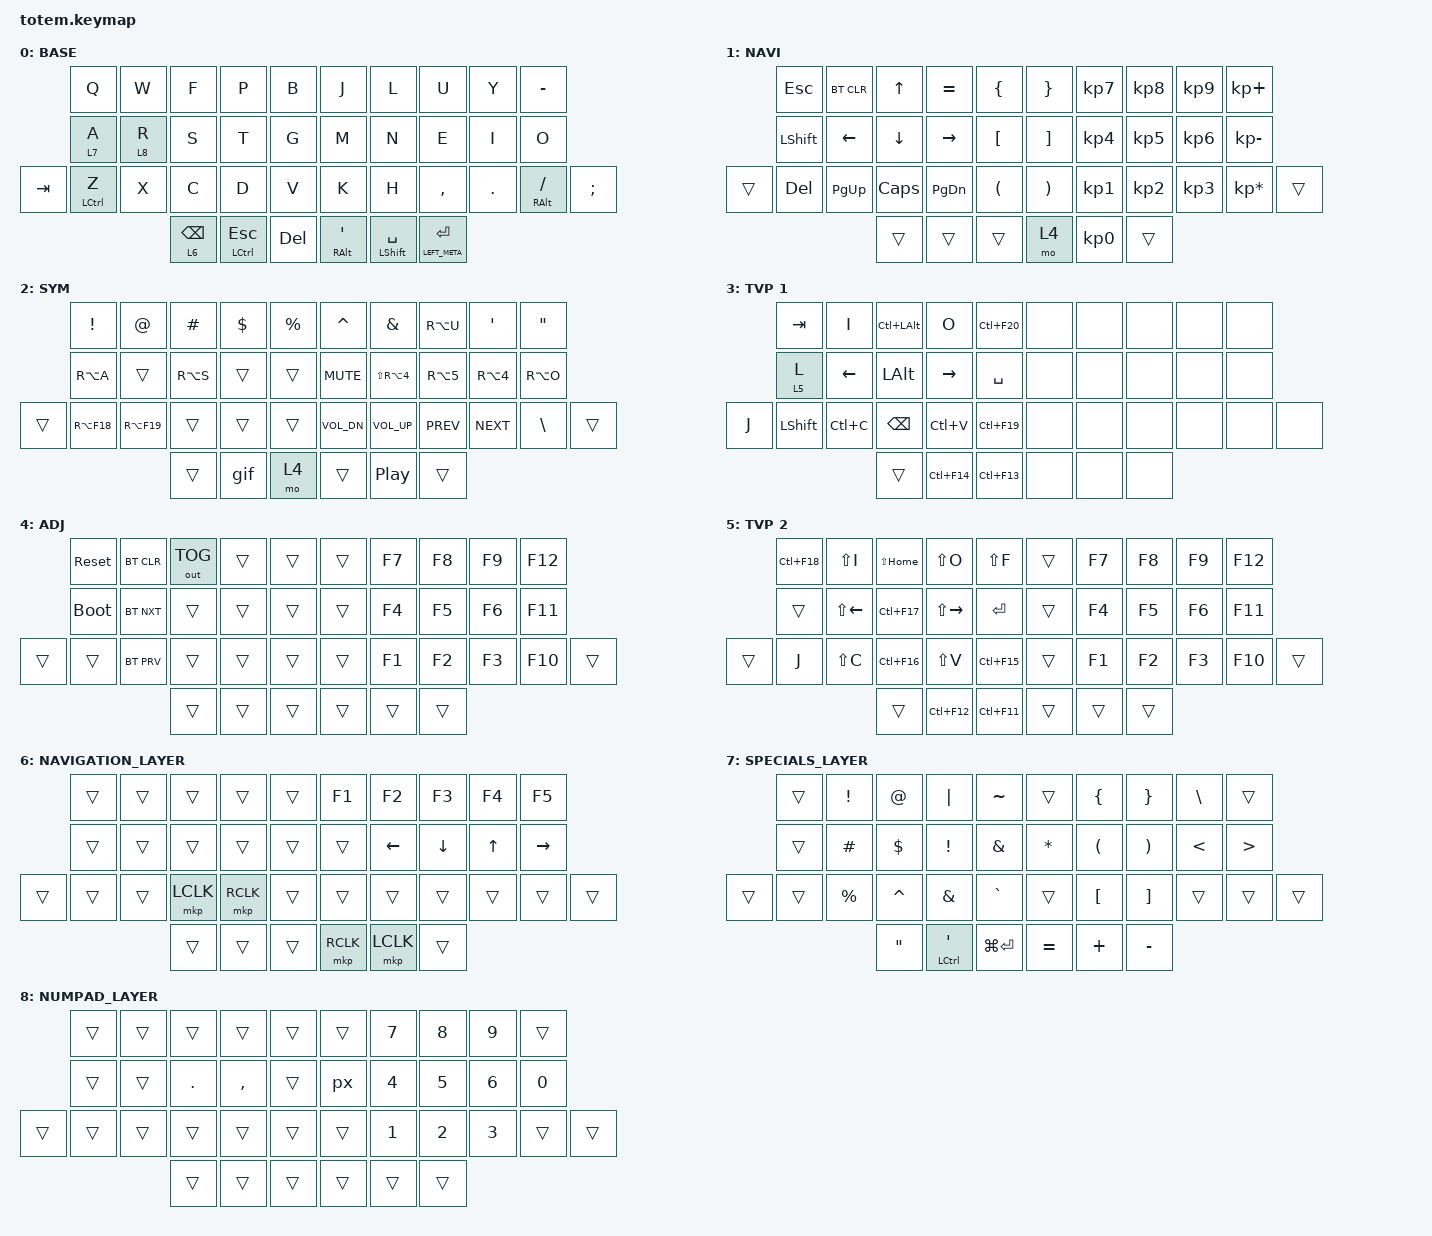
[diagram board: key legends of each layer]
//
//                                                        ▀▀▀▀▀     ▀▀▀▀▀          ▀▀█▀▀
//                                                        ▄▀▀▀▄  ▄  ▄▀▀▀▄  ▄  ▄▀▀▀▄  █  ▄▀▀▀▄
//                                                        █   █  █  █   █  █  █   █  █  █   █
//                                                         ▀▀▀   █   ▀▀▀   █   ▀▀▀   ▀   ▀▀▀
//                                                               █      ▄▄▄█▄▄▄    █   █  
//                                                               ▀      █  █  █     █▄█
//                                                             ▀▀▀▀▀    █  █  █      ▀
//                                                                      ▀  ▀  ▀
//
// ▄▄▄▄▄▄▄▄▄▄▄▄▄▄▄▄▄▄▄▄▄▄▄▄▄▄▄▄▄▄▄▄▄▄▄▄▄▄▄▄▄▄▄▄▄▄▄▄▄▄▄▄▄▄▄▄▄▄▄▄▄▄▄▄▄▄▄▄▄▄▄▄▄▄▄▄▄▄▄▄▄▄▄▄▄▄▄▄▄▄▄▄▄▄▄▄▄▄▄▄▄▄▄▄▄▄▄▄▄▄▄▄▄▄▄▄▄▄▄▄▄▄▄▄▄▄▄▄▄▄▄▄▄▄▄▄▄▄▄▄▄▄▄▄▄▄▄▄▄

#include <behaviors.dtsi>
#include <dt-bindings/zmk/bt.h>
#include <dt-bindings/zmk/keys.h>
#include <dt-bindings/zmk/mouse.h>
#include <dt-bindings/zmk/outputs.h>

#define BASE 0
#define NAV  1
#define SYM  2
#define ADJ  3
#define TVP1 4
#define TVP2 5

&mt {
    quick-tap-ms = <100>;
    global-quick-tap;
    flavor = "tap-preferred";
    tapping-term-ms = <170>;
};

/ {
    combos {
        compatible = "zmk,combos";

        combo_esc {
            timeout-ms = <50>;
            key-positions = <0 1>;
            bindings = <&kp ESC>;
        };

        combo_tvp {
            timeout-ms = <100>;
            key-positions = <11 12 13>;
            bindings = <&tog 3>;
        };

        vim-command {
            bindings = <&vcmd>;
            key-positions = <35 36>;
        };

        win-enter {
            bindings = <&kp LG(RC(RETURN))>;
            key-positions = <37 19>;
        };

        prt_scrn {
            bindings = <&kp PRINTSCREEN>;
            key-positions = <6 5>;
        };
    };

    macros {
        gif: gif {
            label = "giphy";
            compatible = "zmk,behavior-macro";
            #binding-cells = <0>;
            bindings =
                <&macro_press>,
                <&kp LSHFT>,
                <&macro_tap>,
                <&kp N2>,
                <&macro_release>,
                <&kp LSHFT>,
                <&macro_tap>,
                <&kp G &kp I &kp F>;
        };

        px: px {
            compatible = "zmk,behavior-macro";
            #binding-cells = <0>;
            bindings = <&kp P &kp X>;
            label = "PX";
        };

        vcmd: vcmd {
            compatible = "zmk,behavior-macro";
            #binding-cells = <0>;
            bindings = <&kp ESCAPE &kp COLON>;
            label = "VCMD";
        };
    };

    keymap {
        compatible = "zmk,keymap";

        // ▄▄▄▄▄▄▄▄▄▄▄▄▄▄▄▄▄▄▄▄▄▄▄▄▄▄▄▄▄▄▄▄▄▄▄▄▄▄▄▄▄▄▄▄▄▄▄▄▄▄▄▄▄▄▄▄▄▄▄▄▄▄▄▄▄▄▄▄▄▄▄▄▄▄▄▄▄▄▄▄▄▄▄▄▄▄▄▄▄▄▄▄▄▄▄▄▄▄▄▄▄▄▄▄▄▄▄▄▄▄▄▄▄▄▄▄▄▄▄▄▄▄▄▄▄▄▄▄▄▄▄▄▄▄▄▄▄▄▄▄▄▄▄▄▄▄▄▄▄

        base_layer {
            // ┏━━━━━━━━━━━━━━━━━━━━━━━━━━━━━━━━━━━━━━━┓

            label = "BASE";

            // ┗━━━━━━━━━━━━━━━━━━━━━━━━━━━━━━━━━━━━━━━┛
            //             ┏━━━━━━━━━━━┳━━━━━━━━━━━┳━━━━━━━━━━━┳━━━━━━━━━━━┳━━━━━━━━━━━┓   ┏━━━━━━━━━━━┳━━━━━━━━━━━┳━━━━━━━━━━━┳━━━━━━━━━━━┳━━━━━━━━━━━┓
            //             ┃     Q     ┃     W     ┃     F     ┃     P     ┃     G     ┃   ┃     J     ┃     L     ┃     U     ┃     Y     ┃     ;     ┃
            //             ┣━━━━━━━━━━━╋━━━━━━━━━━━╋━━━━━━━━━━━╋━━━━━━━━━━━╋━━━━━━━━━━━┫   ┣━━━━━━━━━━━╋━━━━━━━━━━━╋━━━━━━━━━━━╋━━━━━━━━━━━╋━━━━━━━━━━━┫
            //             ┃     A     ┃     R     ┃     S     ┃     T     ┃     D     ┃   ┃     H     ┃     N     ┃     E     ┃     I     ┃     O     ┃
            // ┏━━━━━━━━━━━╋━━━━━━━━━━━╋━━━━━━━━━━━╋━━━━━━━━━━━╋━━━━━━━━━━━╋━━━━━━━━━━━┫   ┣━━━━━━━━━━━╋━━━━━━━━━━━╋━━━━━━━━━━━╋━━━━━━━━━━━╋━━━━━━━━━━━╋━━━━━━━━━━━┓
            // ┃     Q     ┃     Z     ┃     X     ┃     C     ┃     V     ┃     B     ┃   ┃     K     ┃     M     ┃     ,     ┃     .     ┃     /     ┃     \     ┃
            // ┗━━━━━━━━━━━┻━━━━━━━━━━━┻━━━━━━━━━━━╋━━━━━━━━━━━╋━━━━━━━━━━━╋━━━━━━━━━━━┫   ┣━━━━━━━━━━━╋━━━━━━━━━━━╋━━━━━━━━━━━╋━━━━━━━━━━━┻━━━━━━━━━━━┻━━━━━━━━━━━┛
            //                                     ┃    DEL    ┃    TAB    ┃    SPC    ┃   ┃   ENTER   ┃           ┃   BSPC    ┃
            //                                     ┗━━━━━━━━━━━┻━━━━━━━━━━━┻━━━━━━━━━━━┛   ┗━━━━━━━━━━━┻━━━━━━━━━━━┻━━━━━━━━━━━┛

            bindings = <
         &kp Q        &kp W    &kp F            &kp P             &kp B         &kp J              &kp L                 &kp U                &kp Y    &kp MINUS
         &lt 7 A      &lt 8 R  &kp S            &kp T             &kp G         &kp M              &kp N                 &kp E                &kp I    &kp O
&kp TAB  &mt LCTRL Z  &kp X    &kp C            &kp D             &kp V         &kp K              &kp H                 &kp COMMA            &kp DOT  &mt RIGHT_ALT FSLH  &kp SEMICOLON
                               &lt 6 BACKSPACE  &mt LCTRL ESCAPE  &kp DELETE    &mt RIGHT_ALT SQT  &mt LEFT_SHIFT SPACE  &mt LEFT_META ENTER
            >;
        };

        nav_layer {
            // ┏━━━━━━━━━━━━━━━━━━━━━━━━━━━━━━━━━━━━━━━┓

            label = "NAVI";

            // ┗━━━━━━━━━━━━━━━━━━━━━━━━━━━━━━━━━━━━━━━┛
            //             ┏━━━━━━━━━━━┳━━━━━━━━━━━┳━━━━━━━━━━━┳━━━━━━━━━━━┳━━━━━━━━━━━┓   ┏━━━━━━━━━━━┳━━━━━━━━━━━┳━━━━━━━━━━━┳━━━━━━━━━━━┳━━━━━━━━━━━┓
            //             ┃           ┃           ┃     UP    ┃           ┃     {     ┃   ┃     }     ┃     7     ┃     8     ┃     9     ┃     +     ┃
            //             ┣━━━━━━━━━━━╋━━━━━━━━━━━╋━━━━━━━━━━━╋━━━━━━━━━━━╋━━━━━━━━━━━┫   ┣━━━━━━━━━━━╋━━━━━━━━━━━╋━━━━━━━━━━━╋━━━━━━━━━━━╋━━━━━━━━━━━┫
            //             ┃   SHIFT   ┃   LEFT    ┃    DOWN   ┃   RIGHT   ┃     [     ┃   ┃     ]     ┃     4     ┃     5     ┃     6     ┃     -     ┃
            // ┏━━━━━━━━━━━╋━━━━━━━━━━━╋━━━━━━━━━━━╋━━━━━━━━━━━╋━━━━━━━━━━━╋━━━━━━━━━━━┫   ┣━━━━━━━━━━━╋━━━━━━━━━━━╋━━━━━━━━━━━╋━━━━━━━━━━━╋━━━━━━━━━━━╋━━━━━━━━━━━┓
            // ┃           ┃           ┃   P UP    ┃  C LOCK   ┃  P DOWN   ┃     (     ┃   ┃     )     ┃     1     ┃     2     ┃     3     ┃     *     ┃           ┃
            // ┗━━━━━━━━━━━┻━━━━━━━━━━━┻━━━━━━━━━━━╋━━━━━━━━━━━╋━━━━━━━━━━━╋━━━━━━━━━━━┫   ┣━━━━━━━━━━━╋━━━━━━━━━━━╋━━━━━━━━━━━╋━━━━━━━━━━━┻━━━━━━━━━━━┻━━━━━━━━━━━┛
            //                                     ┃           ┃    TAB    ┃    SPC    ┃   ┃    DEL    ┃     0     ┃           ┃
            //                                     ┗━━━━━━━━━━━┻━━━━━━━━━━━┻━━━━━━━━━━━┛   ┗━━━━━━━━━━━┻━━━━━━━━━━━┻━━━━━━━━━━━┛

            bindings = <
        &kp ESC    &bt BT_CLR  &kp UP    &kp EQUAL  &kp LBRC    &kp RBRC  &kp KP_N7  &kp KP_N8  &kp KP_N9  &kp KP_PLUS
        &kp LSHFT  &kp LEFT    &kp DOWN  &kp RIGHT  &kp LBKT    &kp RBKT  &kp KP_N4  &kp KP_N5  &kp KP_N6  &kp KP_MINUS
&trans  &kp DEL    &kp PG_UP   &kp CAPS  &kp PG_DN  &kp LPAR    &kp RPAR  &kp KP_N1  &kp KP_N2  &kp KP_N3  &kp KP_MULTIPLY  &trans
                               &trans    &trans     &trans      &mo 4     &kp KP_N0  &trans
            >;
        };

        sim_layer {
            // ┏━━━━━━━━━━━━━━━━━━━━━━━━━━━━━━━━━━━━━━━┓

            label = "SYM";

            // ┗━━━━━━━━━━━━━━━━━━━━━━━━━━━━━━━━━━━━━━━┛
            //             ┏━━━━━━━━━━━┳━━━━━━━━━━━┳━━━━━━━━━━━┳━━━━━━━━━━━┳━━━━━━━━━━━┓   ┏━━━━━━━━━━━┳━━━━━━━━━━━┳━━━━━━━━━━━┳━━━━━━━━━━━┳━━━━━━━━━━━┓
            //             ┃     !     ┃     @     ┃     #     ┃     $     ┃     %     ┃   ┃     ˆ     ┃     &     ┃     Ü     ┃     '     ┃     "     ┃
            //             ┣━━━━━━━━━━━╋━━━━━━━━━━━╋━━━━━━━━━━━╋━━━━━━━━━━━╋━━━━━━━━━━━┫   ┣━━━━━━━━━━━╋━━━━━━━━━━━╋━━━━━━━━━━━╋━━━━━━━━━━━╋━━━━━━━━━━━┫
            //             ┃     Ä     ┃           ┃    SZ     ┃           ┃           ┃   ┃   MUTE    ┃   YEN     ┃   EURO    ┃  POUND    ┃     Ö     ┃
            // ┏━━━━━━━━━━━╋━━━━━━━━━━━╋━━━━━━━━━━━╋━━━━━━━━━━━╋━━━━━━━━━━━╋━━━━━━━━━━━┫   ┣━━━━━━━━━━━╋━━━━━━━━━━━╋━━━━━━━━━━━╋━━━━━━━━━━━╋━━━━━━━━━━━╋━━━━━━━━━━━┓
            // ┃           ┃  EMAIL1   ┃  EMAIL2   ┃           ┃           ┃           ┃   ┃   VOL-    ┃   VOL+    ┃   LAST    ┃   NEXT    ┃     \     ┃           ┃
            // ┗━━━━━━━━━━━┻━━━━━━━━━━━┻━━━━━━━━━━━╋━━━━━━━━━━━╋━━━━━━━━━━━╋━━━━━━━━━━━┫   ┣━━━━━━━━━━━╋━━━━━━━━━━━╋━━━━━━━━━━━╋━━━━━━━━━━━┻━━━━━━━━━━━┻━━━━━━━━━━━┛
            //                                     ┃           ┃    GIF    ┃    ADJ    ┃   ┃           ┃           ┃           ┃
            //                                     ┗━━━━━━━━━━━┻━━━━━━━━━━━┻━━━━━━━━━━━┛   ┗━━━━━━━━━━━┻━━━━━━━━━━━┻━━━━━━━━━━━┛

            bindings = <
        &kp EXCL     &kp AT       &kp HASH   &kp DLLR  &kp PRCNT    &kp CARET     &kp AMPS        &kp RA(U)   &kp SQT     &kp DQT
        &kp RA(A)    &trans       &kp RA(S)  &trans    &trans       &kp C_MUTE    &kp LS(RA(N4))  &kp RA(N5)  &kp RA(N4)  &kp RA(O)
&trans  &kp RA(F18)  &kp RA(F19)  &trans     &trans    &trans       &kp C_VOL_DN  &kp C_VOL_UP    &kp C_PREV  &kp C_NEXT  &kp BSLH   &trans
                                  &trans     &gif      &mo 4        &trans        &kp C_PP        &trans
            >;
        };

        tvp1_layer {
            // ┏━━━━━━━━━━━━━━━━━━━━━━━━━━━━━━━━━━━━━━━┓

            label = "TVP 1";

            // ┗━━━━━━━━━━━━━━━━━━━━━━━━━━━━━━━━━━━━━━━┛
            //             ┏━━━━━━━━━━━┳━━━━━━━━━━━┳━━━━━━━━━━━┳━━━━━━━━━━━┳━━━━━━━━━━━┓   ┏━━━━━━━━━━━┳━━━━━━━━━━━┳━━━━━━━━━━━┳━━━━━━━━━━━┳━━━━━━━━━━━┓
            //             ┃ NEXT FILE ┃ MARK IN   ┃ ROTATE    ┃ MARK OUT  ┃ SHOW SNAP ┃   ┃           ┃           ┃           ┃           ┃           ┃
            //             ┣━━━━━━━━━━━╋━━━━━━━━━━━╋━━━━━━━━━━━╋━━━━━━━━━━━╋━━━━━━━━━━━┫   ┣━━━━━━━━━━━╋━━━━━━━━━━━╋━━━━━━━━━━━╋━━━━━━━━━━━╋━━━━━━━━━━━┫
            //             ┃ TVP II    ┃ LEFT      ┃ PAN       ┃ RIGHT     ┃ PLAY/FLIP ┃   ┃           ┃           ┃           ┃           ┃           ┃
            // ┏━━━━━━━━━━━╋━━━━━━━━━━━╋━━━━━━━━━━━╋━━━━━━━━━━━╋━━━━━━━━━━━╋━━━━━━━━━━━┫   ┣━━━━━━━━━━━╋━━━━━━━━━━━╋━━━━━━━━━━━╋━━━━━━━━━━━╋━━━━━━━━━━━╋━━━━━━━━━━━┓
            // ┃ FULLSCR   ┃ SHIFT     ┃ COPY      ┃ DELETE    ┃ PASTE     ┃ IMG MARK  ┃   ┃           ┃           ┃           ┃           ┃           ┃           ┃
            // ┗━━━━━━━━━━━┻━━━━━━━━━━━┻━━━━━━━━━━━╋━━━━━━━━━━━╋━━━━━━━━━━━╋━━━━━━━━━━━┫   ┣━━━━━━━━━━━╋━━━━━━━━━━━╋━━━━━━━━━━━╋━━━━━━━━━━━┻━━━━━━━━━━━┻━━━━━━━━━━━┛
            //                                     ┃           ┃ UNDO/SAVE ┃  SEL/MOV  ┃   ┃           ┃           ┃           ┃
            //                                     ┗━━━━━━━━━━━┻━━━━━━━━━━━┻━━━━━━━━━━━┛   ┗━━━━━━━━━━━┻━━━━━━━━━━━┻━━━━━━━━━━━┛

            bindings = <
       &kp TAB    &kp I      &kp LC(LALT)  &kp O        &kp LC(F20)    &none  &none  &none  &none  &none
       &lt 5 L    &kp LEFT   &kp LALT      &kp RIGHT    &kp SPACE      &none  &none  &none  &none  &none
&kp J  &kp LSHFT  &kp LC(C)  &kp BSPC      &kp LC(V)    &kp LC(F19)    &none  &none  &none  &none  &none  &none
                             &trans        &kp LC(F14)  &kp LC(F13)    &none  &none  &none
            >;
        };

        adjust_layer {
            // ┏━━━━━━━━━━━━━━━━━━━━━━━━━━━━━━━━━━━━━━━┓

            label = "ADJ";

            // ┗━━━━━━━━━━━━━━━━━━━━━━━━━━━━━━━━━━━━━━━┛
            //             ┏━━━━━━━━━━━┳━━━━━━━━━━━┳━━━━━━━━━━━┳━━━━━━━━━━━┳━━━━━━━━━━━┓   ┏━━━━━━━━━━━┳━━━━━━━━━━━┳━━━━━━━━━━━┳━━━━━━━━━━━┳━━━━━━━━━━━┓
            //             ┃   RESET   ┃ BT CLEAR  ┃  OUT TOG  ┃           ┃           ┃   ┃           ┃    F7     ┃    F8     ┃    F9     ┃    F12    ┃
            //             ┣━━━━━━━━━━━╋━━━━━━━━━━━╋━━━━━━━━━━━╋━━━━━━━━━━━╋━━━━━━━━━━━┫   ┣━━━━━━━━━━━╋━━━━━━━━━━━╋━━━━━━━━━━━╋━━━━━━━━━━━╋━━━━━━━━━━━┫
            //             ┃ BOOTLOAD  ┃ BT NEXT   ┃           ┃           ┃           ┃   ┃           ┃    F4     ┃    F5     ┃    F6     ┃    F11    ┃
            // ┏━━━━━━━━━━━╋━━━━━━━━━━━╋━━━━━━━━━━━╋━━━━━━━━━━━╋━━━━━━━━━━━╋━━━━━━━━━━━┫   ┣━━━━━━━━━━━╋━━━━━━━━━━━╋━━━━━━━━━━━╋━━━━━━━━━━━╋━━━━━━━━━━━╋━━━━━━━━━━━┓
            // ┃           ┃           ┃ BT PREV   ┃           ┃           ┃           ┃   ┃           ┃    F1     ┃    F2     ┃    F3     ┃    F10    ┃           ┃
            // ┗━━━━━━━━━━━┻━━━━━━━━━━━┻━━━━━━━━━━━╋━━━━━━━━━━━╋━━━━━━━━━━━╋━━━━━━━━━━━┫   ┣━━━━━━━━━━━╋━━━━━━━━━━━╋━━━━━━━━━━━╋━━━━━━━━━━━┻━━━━━━━━━━━┻━━━━━━━━━━━┛
            //                                     ┃           ┃           ┃           ┃   ┃           ┃           ┃           ┃
            //                                     ┗━━━━━━━━━━━┻━━━━━━━━━━━┻━━━━━━━━━━━┛   ┗━━━━━━━━━━━┻━━━━━━━━━━━┻━━━━━━━━━━━┛

            bindings = <
        &sys_reset   &bt BT_CLR  &out OUT_TOG  &trans  &trans    &trans  &kp F7  &kp F8  &kp F9  &kp F12
        &bootloader  &bt BT_NXT  &trans        &trans  &trans    &trans  &kp F4  &kp F5  &kp F6  &kp F11
&trans  &trans       &bt BT_PRV  &trans        &trans  &trans    &trans  &kp F1  &kp F2  &kp F3  &kp F10  &trans
                                 &trans        &trans  &trans    &trans  &trans  &trans
            >;
        };

        tvp2_layer {
            // ┏━━━━━━━━━━━━━━━━━━━━━━━━━━━━━━━━━━━━━━━┓

            label = "TVP 2";

            // ┗━━━━━━━━━━━━━━━━━━━━━━━━━━━━━━━━━━━━━━━┛
            //             ┏━━━━━━━━━━━┳━━━━━━━━━━━┳━━━━━━━━━━━┳━━━━━━━━━━━┳━━━━━━━━━━━┓   ┏━━━━━━━━━━━┳━━━━━━━━━━━┳━━━━━━━━━━━┳━━━━━━━━━━━┳━━━━━━━━━━━┓
            //             ┃ SOLO      ┃ TOGGLE IN ┃ RESET ROT ┃ TOGGLE OUT┃ TAKE SNAP ┃   ┃           ┃           ┃           ┃           ┃           ┃
            //             ┣━━━━━━━━━━━╋━━━━━━━━━━━╋━━━━━━━━━━━╋━━━━━━━━━━━╋━━━━━━━━━━━┫   ┣━━━━━━━━━━━╋━━━━━━━━━━━╋━━━━━━━━━━━╋━━━━━━━━━━━╋━━━━━━━━━━━┫
            //             ┃ ---       ┃ LAST KEY  ┃ NEW KEY   ┃ NEXT KEY  ┃ ENTER     ┃   ┃           ┃           ┃           ┃           ┃           ┃
            // ┏━━━━━━━━━━━╋━━━━━━━━━━━╋━━━━━━━━━━━╋━━━━━━━━━━━╋━━━━━━━━━━━╋━━━━━━━━━━━┫   ┣━━━━━━━━━━━╋━━━━━━━━━━━╋━━━━━━━━━━━╋━━━━━━━━━━━╋━━━━━━━━━━━╋━━━━━━━━━━━┓
            // ┃           ┃ FULLSCR   ┃ CPY2BRUSH ┃ DEL HEAD  ┃ PSTinPLACE┃ BOOK MARK ┃   ┃           ┃           ┃           ┃           ┃           ┃           ┃
            // ┗━━━━━━━━━━━┻━━━━━━━━━━━┻━━━━━━━━━━━╋━━━━━━━━━━━╋━━━━━━━━━━━╋━━━━━━━━━━━┫   ┣━━━━━━━━━━━╋━━━━━━━━━━━╋━━━━━━━━━━━╋━━━━━━━━━━━┻━━━━━━━━━━━┻━━━━━━━━━━━┛
            //                                     ┃           ┃ REDO/SAV1 ┃TRANS/WARP ┃   ┃           ┃           ┃           ┃
            //                                     ┗━━━━━━━━━━━┻━━━━━━━━━━━┻━━━━━━━━━━━┛   ┗━━━━━━━━━━━┻━━━━━━━━━━━┻━━━━━━━━━━━┛

            bindings = <
        &kp LC(F18)  &kp LS(I)     &kp LS(HOME)  &kp LS(O)      &kp LS(F)      &trans  &kp F7  &kp F8  &kp F9  &kp F12
        &trans       &kp LS(LEFT)  &kp LC(F17)   &kp LS(RIGHT)  &kp RET        &trans  &kp F4  &kp F5  &kp F6  &kp F11
&trans  &kp J        &kp LS(C)     &kp LC(F16)   &kp LS(V)      &kp LC(F15)    &trans  &kp F1  &kp F2  &kp F3  &kp F10  &trans
                                   &trans        &kp LC(F12)    &kp LC(F11)    &trans  &trans  &trans
            >;
        };

        NAVIGATION_LAYER {
            bindings = <
        &trans  &trans  &trans     &trans     &trans    &kp F1     &kp F2     &kp F3    &kp F4  &kp F5
        &trans  &trans  &trans     &trans     &trans    &trans     &kp LEFT   &kp DOWN  &kp UP  &kp RIGHT
&trans  &trans  &trans  &mkp LCLK  &mkp RCLK  &trans    &trans     &trans     &trans    &trans  &trans     &trans
                        &trans     &trans     &trans    &mkp RCLK  &mkp LCLK  &trans
            >;
        };

        SPECIALS_LAYER {
            bindings = <
        &trans  &kp EXCLAMATION  &kp AT_SIGN        &kp PIPE         &kp TILDE        &trans        &kp LEFT_BRACE        &kp RIGHT_BRACE        &kp BACKSLASH  &trans
        &trans  &kp HASH         &kp DOLLAR         &kp EXCLAMATION  &kp AMPERSAND    &kp ASTERISK  &kp LEFT_PARENTHESIS  &kp RIGHT_PARENTHESIS  &kp LESS_THAN  &kp GREATER_THAN
&trans  &trans  &kp PERCENT      &kp CARET          &kp AMPERSAND    &kp GRAVE        &trans        &kp LEFT_BRACKET      &kp RIGHT_BRACKET      &trans         &trans            &trans
                                 &kp DOUBLE_QUOTES  &mt LCTRL SQT    &kp LG(ENTER)    &kp EQUAL     &kp PLUS              &kp MINUS
            >;
        };

        NUMPAD_LAYER {
            bindings = <
        &trans  &trans  &trans      &trans     &trans    &trans  &kp N7  &kp N8  &kp N9  &trans
        &trans  &trans  &kp PERIOD  &kp COMMA  &trans    &px     &kp N4  &kp N5  &kp N6  &kp N0
&trans  &trans  &trans  &trans      &trans     &trans    &trans  &kp N1  &kp N2  &kp N3  &trans  &trans
                        &trans      &trans     &trans    &trans  &trans  &trans
            >;
        };
    };
};
